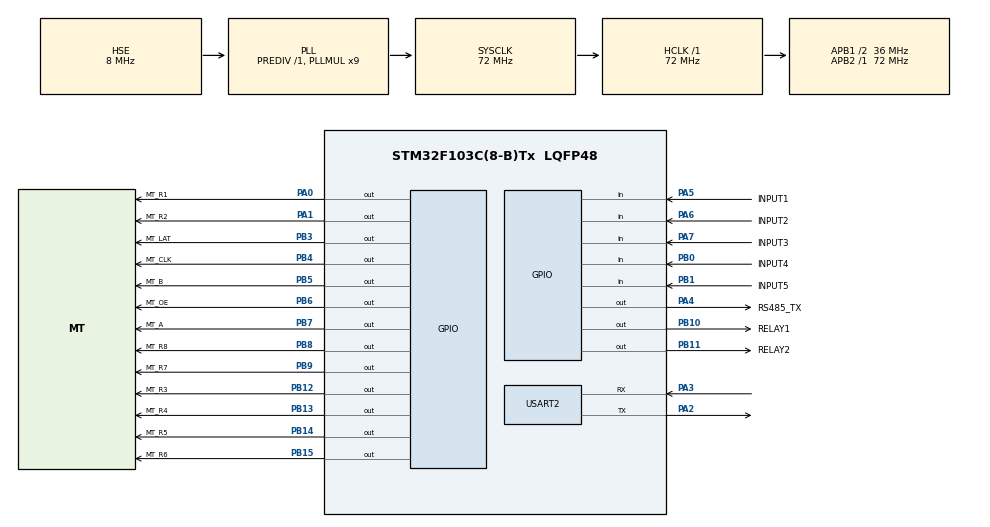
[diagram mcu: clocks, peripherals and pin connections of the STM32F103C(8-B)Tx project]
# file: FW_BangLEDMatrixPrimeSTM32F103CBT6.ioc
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Mcu.Family=STM32F1
Mcu.Name=STM32F103C(8-B)Tx
Mcu.Package=LQFP48
NVIC.PriorityGroup=NVIC_PRIORITYGROUP_4
NVIC.TIM1_BRK_IRQn=true\:7\:0\:true\:false\:true\:true\:true\:true
NVIC.TIM1_CC_IRQn=true\:7\:0\:true\:false\:true\:true\:true\:true
NVIC.TIM1_TRG_COM_IRQn=true\:7\:0\:true\:false\:true\:true\:true\:true
NVIC.TIM1_UP_IRQn=true\:7\:0\:true\:false\:true\:true\:true\:true
NVIC.USART2_IRQn=true\:0\:0\:false\:false\:true\:true\:true\:true
PA0-WKUP.GPIO_Label=MT_R1
PA0-WKUP.GPIO_Speed=GPIO_SPEED_FREQ_HIGH
PA0-WKUP.Signal=GPIO_Output
PA1.GPIO_Label=MT_R2
PA1.GPIO_Speed=GPIO_SPEED_FREQ_HIGH
PA1.Signal=GPIO_Output
PA13.Mode=Serial_Wire
PA13.Signal=SYS_JTMS-SWDIO
PA14.Mode=Serial_Wire
PA14.Signal=SYS_JTCK-SWCLK
PA2.Mode=Asynchronous
PA2.Signal=USART2_TX
PA3.Mode=Asynchronous
PA3.Signal=USART2_RX
PA4.GPIO_Label=RS485_TX
PA4.Signal=GPIO_Output
PA5.GPIO_Label=INPUT1
PA5.Signal=GPIO_Input
PA6.GPIO_Label=INPUT2
PA6.Signal=GPIO_Input
PA7.GPIO_Label=INPUT3
PA7.Signal=GPIO_Input
PB0.GPIO_Label=INPUT4
PB0.Signal=GPIO_Input
PB1.GPIO_Label=INPUT5
PB1.Signal=GPIO_Input
PB10.GPIO_Label=RELAY1
PB10.Signal=GPIO_Output
PB11.GPIO_Label=RELAY2
PB11.Signal=GPIO_Output
PB12.GPIO_Label=MT_R3
PB12.GPIO_Speed=GPIO_SPEED_FREQ_HIGH
PB12.Signal=GPIO_Output
PB13.GPIO_Label=MT_R4
PB13.GPIO_Speed=GPIO_SPEED_FREQ_HIGH
PB13.Signal=GPIO_Output
PB14.GPIO_Label=MT_R5
PB14.GPIO_Speed=GPIO_SPEED_FREQ_HIGH
PB14.Signal=GPIO_Output
PB15.GPIO_Label=MT_R6
PB15.GPIO_Speed=GPIO_SPEED_FREQ_HIGH
PB15.Signal=GPIO_Output
PB3.GPIO_Label=MT_LAT
PB3.GPIO_Speed=GPIO_SPEED_FREQ_HIGH
PB3.Signal=GPIO_Output
PB4.GPIO_Label=MT_CLK
PB4.GPIO_Speed=GPIO_SPEED_FREQ_HIGH
PB4.Signal=GPIO_Output
PB5.GPIO_Label=MT_B
PB5.GPIO_Speed=GPIO_SPEED_FREQ_HIGH
PB5.Signal=GPIO_Output
PB6.GPIO_Label=MT_OE
PB6.GPIO_Speed=GPIO_SPEED_FREQ_HIGH
PB6.Signal=GPIO_Output
PB7.GPIO_Label=MT_A
PB7.GPIO_Speed=GPIO_SPEED_FREQ_HIGH
PB7.Signal=GPIO_Output
PB8.GPIO_Label=MT_R8
PB8.GPIO_Speed=GPIO_SPEED_FREQ_HIGH
PB8.Signal=GPIO_Output
PB9.GPIO_Label=MT_R7
PB9.GPIO_Speed=GPIO_SPEED_FREQ_HIGH
PB9.Signal=GPIO_Output
PD0-OSC_IN.Mode=HSE-External-Oscillator
PD0-OSC_IN.Signal=RCC_OSC_IN
PD1-OSC_OUT.Mode=HSE-External-Oscillator
PD1-OSC_OUT.Signal=RCC_OSC_OUT
ProjectManager.HeapSize=0x200
ProjectManager.StackSize=0x400
ProjectManager.TargetToolchain=STM32CubeIDE
RCC.AHBFreq_Value=72000000
RCC.APB1CLKDivider=RCC_HCLK_DIV2
RCC.APB1Freq_Value=36000000
RCC.APB1TimFreq_Value=72000000
RCC.APB2Freq_Value=72000000
RCC.APB2TimFreq_Value=72000000
RCC.HCLKFreq_Value=72000000
RCC.PLLMUL=RCC_PLL_MUL9
RCC.PLLSourceVirtual=RCC_PLLSOURCE_HSE
RCC.SYSCLKFreq_VALUE=72000000
RCC.SYSCLKSource=RCC_SYSCLKSOURCE_PLLCLK
RCC.USBFreq_Value=72000000
TIM1.Period=3999
TIM1.Prescaler=71
USART2.VirtualMode=VM_ASYNC
VP_TIM1_VS_ClockSourceINT.Mode=Internal
board=custom

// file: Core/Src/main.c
/* USER CODE BEGIN Header */
/**
  ******************************************************************************
  * @file           : main.c
  * @brief          : Main program body
  ******************************************************************************
  * @attention
  *
  * Copyright (c) 2023 STMicroelectronics.
  * All rights reserved.
  *
  * This software is licensed under terms that can be found in the LICENSE file
  * in the root directory of this software component.
  * If no LICENSE file comes with this software, it is provided AS-IS.
  *
  ******************************************************************************
  */
/* USER CODE END Header */
#include "main.h"
#include <stdbool.h>
/* USER CODE BEGIN Includes */
#include "stdio.h"
#include "led.h"
/* USER CODE END Includes */

TIM_HandleTypeDef htim1;

UART_HandleTypeDef huart2;

void SystemClock_Config(void);
static void MX_GPIO_Init(void);
static void MX_USART2_UART_Init(void);
static void MX_TIM1_Init(void);

/* USER CODE BEGIN 0 */
//bien phuc vu cai dat
uint8_t flag_hetBH = 0;
uint32_t TS2 = 0,TS1 = 0,thoi_gian_hoatdong = 0,My_Baudrate = 0,My_ID = 0;
int trangthainutnhan = 0;
void luu_thong_tin(void);

#define MENU HAL_GPIO_ReadPin(INPUT3_GPIO_Port, INPUT3_Pin)
#define UP HAL_GPIO_ReadPin(INPUT4_GPIO_Port, INPUT4_Pin)
#define DOWN HAL_GPIO_ReadPin(INPUT5_GPIO_Port, INPUT5_Pin)
/* USER CODE END 0 */

void Tru30s(void);
void COUNTDOWN(void);
void DK_Pin(void);
void Pause();

void HienThiPin(uint8_t level)
{
//	int x = 36;
//	int y = 18;
//	for(int a = x; a < x + 22; x++)
//	{
//		for(int b = y; b < y + 6; y++)
//		{
//			setpixel(a, b, 1);
//		}
//	}
	//hien thi khung pin ngang(tren)
	for(int i = 36;i < 37+22;i++)
	{
		setpixel(i, 18, 1);
	}
	//hien thi khung pin ngang(duoi)
	for(int i = 36;i < 37+22;i++)
	{
		setpixel(i, 21 + 2, 1);
	}
	// hien thi khung Pin doc(trai)
	for(int i=18;i<18+6;i++)
	{
		setpixel(36, i, 1);
	}
	// hien thi khung Pin doc(phai)
	for(int i=18;i<18+6;i++)
	{
		setpixel(36+22, i, 1);
	}
	// hien thi dau cuc Pin
	for(int i=19;i<18+5;i++)
	{
			setpixel(36+23, i, 1);
	}

	// hien thi Level
	switch (level)
	{
		case 0:
			level = 1;
			break;
		case 1:
			level = 2;
			break;
		case 2:
			level = 3;
			break;
		case 3:
			level = 4;
			break;
		case 4:
			level = 5;
			break;
	}

	int vtri_batdau = 39 - 1;
	for(int t = 0; t < level; t++)
	{
		for(int i = vtri_batdau; i < vtri_batdau + 3; i++)
		{
			for(int j = 18; j < 24; j++)
			{
				setpixel(i, j, 1);
			}
		}
		vtri_batdau += 4;
	}
//	switch(level)
//	{
//		// Level 1
//		case 0:
//		{
//			for(int i = 39-1; i < 42-1; i++)
//			{
//				for(int j = 18; j < 24; j++)
//				{
//					setpixel(i, j, 1);
//				}
//			}
//			break;
//		}
//		// Level 2
//		case 1:
//		{
//			for(int i = 39 - 1; i < 42 - 1; i++)
//			{
//				for(int j = 18; j < 24; j++)
//				{
//					setpixel(i, j, 1);
//				}
//			}
//			for(int i = 43 - 1; i < 46 - 1; i++)
//			{
//				for(int j = 18; j < 24; j++)
//				{
//					setpixel(i, j, 1);
//				}
//			}
//			break;
//		}
//		// Level 3
//		case 2:
//		{
//			for(int i = 39 - 1; i < 42 - 1; i++){
//				for(int j = 18; j < 24; j++){
//					setpixel(i, j, 1);
//				}
//			}
//			for(int i = 43 - 1; i < 46 - 1; i++){
//				for(int j = 18; j < 24; j++){
//					setpixel(i, j, 1);
//				}
//			}
//
//			for(int i = 47 - 1; i < 50 - 1; i++){
//				for(int j = 18; j < 24; j++){
//					setpixel(i, j, 1);
//				}
//			}
//			break;
//		}
//		// Level 4
//		case 3:
//		{
//			for(int i = 39 - 1; i < 42 - 1; i++){
//				for(int j = 18; j < 24; j++){
//					setpixel(i, j, 1);
//				}
//			}
//			for(int i = 43 - 1; i < 46 - 1; i++){
//				for(int j = 18; j < 24; j++){
//					setpixel(i, j, 1);
//				}
//			}
//
//			for(int i = 47 - 1; i < 50 - 1; i++){
//				for(int j = 18; j < 24; j++){
//					setpixel(i, j, 1);
//				}
//			}
//
//			for(int i = 51 - 1; i < 54 - 1; i++){
//				for(int j = 18; j < 24; j++){
//					setpixel(i, j, 1);
//				}
//			}
//			break;
//		}
//
//		// Level 5
//		case 4:
//		{
//			for(int i = 39 - 1; i < 42 - 1; i++){
//				for(int j = 18; j < 24; j++){
//					setpixel(i, j, 1);
//				}
//			}
//
//			for(int i = 43 - 1; i < 46 - 1; i++){
//				for(int j = 18; j < 24; j++){
//					setpixel(i, j, 1);
//				}
//			}
//
//			for(int i = 47 - 1; i < 50 - 1; i++){
//				for(int j = 18; j < 24; j++){
//					setpixel(i, j, 1);
//				}
//			}
//			for(int i = 51 - 1; i < 54 - 1; i++){
//				for(int j = 18; j < 24; j++){
//					setpixel(i, j, 1);
//				}
//			}
//			for(int i = 55 - 1; i < 58 - 1; i++){
//				for(int j = 18; j < 24; j++){
//					setpixel(i, j, 1);
//				}
//			}
//			break;
//		}
//	}
}

uint16_t trangthaiPin = 0;
uint16_t demPin = 0;
void DK_Pin(){
	if(HAL_GPIO_ReadPin(INPUT5_GPIO_Port,INPUT5_Pin) == 0){
		if(trangthaiPin == 1){
			demPin++;
		}
		if(demPin == 1)
		{
			HienThiPin(0);
		}
		else if(demPin == 2)
		{
			HienThiPin(1);
		}
		else if(demPin == 3)
		{
			HienThiPin(2);
		}
		else if(demPin == 4)
		{
			HienThiPin(3);
		}
		else if(demPin == 5)
		{
			HienThiPin(4);
		}
		else if(demPin >= 6){
			demPin = 1;
		}
		trangthaiPin = 0;
	}
	else{
		trangthaiPin = 1;
	}
}

int cnt = 0;
int dem = 420;
uint8_t m[32];
uint8_t m1[32];
uint32_t dem1 = 0,stick = 0;

uint32_t count_1s =0;

uint8_t a,b,c,d,e;

int tt2 = 0;
int cnt2 = 0;

int tt_dung = 0;
int cnt_dung = 0;
// khai bao ham dung
int dung = 0;

int main(void)
{
  /* USER CODE BEGIN 1 */
//	uint8_t m[32];
//	uint8_t m1[32];
//	uint32_t dem1 = 0,stick = 0;
//
//	uint32_t count_1s =0;
  /* USER CODE END 1 */

  /* MCU Configuration--------------------------------------------------------*/

  /* Reset of all peripherals, Initializes the Flash interface and the Systick. */
  HAL_Init();

  /* Configure the system clock */
  SystemClock_Config();

  /* Initialize all configured peripherals */
  MX_GPIO_Init();
  MX_USART2_UART_Init();
  MX_TIM1_Init();
  /* USER CODE BEGIN 2 */
  //doc thong tin ra
  led_init();
//  write_string(0, "12.34 %", 0, 0);
//  write_string(0, "100.0 %", 0, 16);
//  write_string(0, "56.78 %", 0, 32);
//  write_string(0, "15.12 %", 0, 48);
//  write_string(0, "92.68 %", 0, 64);
  /* USER CODE END 2 */
  /* Infinite loop */
  /* USER CODE BEGIN WHILE */
  int dem = 420; // 7 mins
  int tt=0;
  while (1)
  {
    /* USER CODE END WHILE */
    /* USER CODE BEGIN 3 */
//	  a = HAL_GPIO_ReadPin(INPUT1_GPIO_Port,INPUT1_Pin);
//	  // Start
//	  b = HAL_GPIO_ReadPin(INPUT2_GPIO_Port,INPUT2_Pin);
//	  c = HAL_GPIO_ReadPin(INPUT3_GPIO_Port,INPUT3_Pin);
//	  // ERROR
//	  d = HAL_GPIO_ReadPin(INPUT4_GPIO_Port,INPUT4_Pin);
//	  // Level
//	  e = HAL_GPIO_ReadPin(INPUT5_GPIO_Port,INPUT5_Pin);
//	  if(a | b | c | d | e != 0){
//		  printf("Da nhan");
//	  }

	  DK_Pin();
	  a = HAL_GPIO_ReadPin(INPUT1_GPIO_Port,INPUT1_Pin);
	  b = HAL_GPIO_ReadPin(INPUT2_GPIO_Port,INPUT2_Pin);			// countdown
	  c = HAL_GPIO_ReadPin(INPUT4_GPIO_Port,INPUT4_Pin);			// tru 30s
	  d = HAL_GPIO_ReadPin(INPUT5_GPIO_Port,INPUT5_Pin);			// Level
	  if(b == 0){
		  tt = 1;
		  if(HAL_GetTick() - count_1s > 1000)
		  {
			  if(dem >= 0 && !dung){
				  sprintf(m,"                   %d:%.2d",dem/60,dem%60);
				  write_string(0, m, 0, 3);
				  dem--;

				  // Ham Pause dong ho
				  if(a == 0){
					  dung = 1;
				  }
				  else{
					  dung = 0;
					  count_1s = HAL_GetTick();
				  }
//
			  }
			  else{
				  sprintf(m,"                  0:00");
				  write_string(0, m, 0, 3);
				  HAL_GPIO_WritePin(GPIOA, MT_R1_Pin, GPIO_PIN_SET);
			  }
		  }
		  if(c == 0){
		  	HAL_Delay(10);
		  	if(c == 0){
				sprintf(m,"               %d:%.2d",dem/60,dem%60);
				write_string(0, m, 0, 3);
				dem -= 30;
		  	}
		  }
	  }

	  else if(b	 == 1){
		  clear_lcd();
		  dem = 420;
		  tt = 1;
	  }

  }
  /* USER CODE END 3 */
}

void SystemClock_Config(void)
{
  RCC_OscInitTypeDef RCC_OscInitStruct = {0};
  RCC_ClkInitTypeDef RCC_ClkInitStruct = {0};

  /** Initializes the RCC Oscillators according to the specified parameters
  * in the RCC_OscInitTypeDef structure.
  */
  RCC_OscInitStruct.OscillatorType = RCC_OSCILLATORTYPE_HSE;
  RCC_OscInitStruct.HSEState = RCC_HSE_ON;
  RCC_OscInitStruct.HSEPredivValue = RCC_HSE_PREDIV_DIV1;
  RCC_OscInitStruct.HSIState = RCC_HSI_ON;
  RCC_OscInitStruct.PLL.PLLState = RCC_PLL_ON;
  RCC_OscInitStruct.PLL.PLLSource = RCC_PLLSOURCE_HSE;
  RCC_OscInitStruct.PLL.PLLMUL = RCC_PLL_MUL9;
  if (HAL_RCC_OscConfig(&RCC_OscInitStruct) != HAL_OK)
  {
    Error_Handler();
  }

  /** Initializes the CPU, AHB and APB buses clocks
  */
  RCC_ClkInitStruct.ClockType = RCC_CLOCKTYPE_HCLK|RCC_CLOCKTYPE_SYSCLK
                              |RCC_CLOCKTYPE_PCLK1|RCC_CLOCKTYPE_PCLK2;
  RCC_ClkInitStruct.SYSCLKSource = RCC_SYSCLKSOURCE_PLLCLK;
  RCC_ClkInitStruct.AHBCLKDivider = RCC_SYSCLK_DIV1;
  RCC_ClkInitStruct.APB1CLKDivider = RCC_HCLK_DIV2;
  RCC_ClkInitStruct.APB2CLKDivider = RCC_HCLK_DIV1;

  if (HAL_RCC_ClockConfig(&RCC_ClkInitStruct, FLASH_LATENCY_2) != HAL_OK)
  {
    Error_Handler();
  }
}

static void MX_TIM1_Init(void)
{

  TIM_ClockConfigTypeDef sClockSourceConfig = {0};
  TIM_MasterConfigTypeDef sMasterConfig = {0};

  htim1.Instance = TIM1;
  htim1.Init.Prescaler = 71;
  htim1.Init.CounterMode = TIM_COUNTERMODE_UP;
  htim1.Init.Period = 3999;
  htim1.Init.ClockDivision = TIM_CLOCKDIVISION_DIV1;
  htim1.Init.RepetitionCounter = 0;
  htim1.Init.AutoReloadPreload = TIM_AUTORELOAD_PRELOAD_DISABLE;
  if (HAL_TIM_Base_Init(&htim1) != HAL_OK)
  {
    Error_Handler();
  }
  sClockSourceConfig.ClockSource = TIM_CLOCKSOURCE_INTERNAL;
  if (HAL_TIM_ConfigClockSource(&htim1, &sClockSourceConfig) != HAL_OK)
  {
    Error_Handler();
  }
  sMasterConfig.MasterOutputTrigger = TIM_TRGO_RESET;
  sMasterConfig.MasterSlaveMode = TIM_MASTERSLAVEMODE_DISABLE;
  if (HAL_TIMEx_MasterConfigSynchronization(&htim1, &sMasterConfig) != HAL_OK)
  {
    Error_Handler();
  }

}

static void MX_USART2_UART_Init(void)
{

  huart2.Instance = USART2;
  huart2.Init.BaudRate = 115200;
  huart2.Init.WordLength = UART_WORDLENGTH_8B;
  huart2.Init.StopBits = UART_STOPBITS_1;
  huart2.Init.Parity = UART_PARITY_NONE;
  huart2.Init.Mode = UART_MODE_TX_RX;
  huart2.Init.HwFlowCtl = UART_HWCONTROL_NONE;
  huart2.Init.OverSampling = UART_OVERSAMPLING_16;
  if (HAL_UART_Init(&huart2) != HAL_OK)
  {
    Error_Handler();
  }

}

static void MX_GPIO_Init(void)
{
  GPIO_InitTypeDef GPIO_InitStruct = {0};

  /* GPIO Ports Clock Enable */
  __HAL_RCC_GPIOD_CLK_ENABLE();
  __HAL_RCC_GPIOA_CLK_ENABLE();
  __HAL_RCC_GPIOB_CLK_ENABLE();

  /*Configure GPIO pin Output Level */
  HAL_GPIO_WritePin(GPIOA, MT_R1_Pin|MT_R2_Pin|RS485_TX_Pin, GPIO_PIN_RESET);

  /*Configure GPIO pin Output Level */
  HAL_GPIO_WritePin(GPIOB, RELAY1_Pin|RELAY2_Pin|MT_R3_Pin|MT_R4_Pin
                          |MT_R5_Pin|MT_R6_Pin|MT_LAT_Pin|MT_CLK_Pin
                          |MT_B_Pin|MT_OE_Pin|MT_A_Pin|MT_R8_Pin
                          |MT_R7_Pin, GPIO_PIN_RESET);

  /*Configure GPIO pins : MT_R1_Pin MT_R2_Pin */
  GPIO_InitStruct.Pin = MT_R1_Pin|MT_R2_Pin;
  GPIO_InitStruct.Mode = GPIO_MODE_OUTPUT_PP;
  GPIO_InitStruct.Pull = GPIO_NOPULL;
  GPIO_InitStruct.Speed = GPIO_SPEED_FREQ_HIGH;
  HAL_GPIO_Init(GPIOA, &GPIO_InitStruct);

  /*Configure GPIO pin : RS485_TX_Pin */
  GPIO_InitStruct.Pin = RS485_TX_Pin;
  GPIO_InitStruct.Mode = GPIO_MODE_OUTPUT_PP;
  GPIO_InitStruct.Pull = GPIO_NOPULL;
  GPIO_InitStruct.Speed = GPIO_SPEED_FREQ_LOW;
  HAL_GPIO_Init(RS485_TX_GPIO_Port, &GPIO_InitStruct);

  /*Configure GPIO pins : INPUT1_Pin INPUT2_Pin INPUT3_Pin */
  GPIO_InitStruct.Pin = INPUT1_Pin|INPUT2_Pin|INPUT3_Pin;
  GPIO_InitStruct.Mode = GPIO_MODE_INPUT;
  GPIO_InitStruct.Pull = GPIO_NOPULL;
  HAL_GPIO_Init(GPIOA, &GPIO_InitStruct);

  /*Configure GPIO pins : INPUT4_Pin INPUT5_Pin */
  GPIO_InitStruct.Pin = INPUT4_Pin|INPUT5_Pin;
  GPIO_InitStruct.Mode = GPIO_MODE_INPUT;
  GPIO_InitStruct.Pull = GPIO_NOPULL;
  HAL_GPIO_Init(GPIOB, &GPIO_InitStruct);

  /*Configure GPIO pins : RELAY1_Pin RELAY2_Pin */
  GPIO_InitStruct.Pin = RELAY1_Pin|RELAY2_Pin;
  GPIO_InitStruct.Mode = GPIO_MODE_OUTPUT_PP;
  GPIO_InitStruct.Pull = GPIO_NOPULL;
  GPIO_InitStruct.Speed = GPIO_SPEED_FREQ_LOW;
  HAL_GPIO_Init(GPIOB, &GPIO_InitStruct);

  /*Configure GPIO pins : MT_R3_Pin MT_R4_Pin MT_R5_Pin MT_R6_Pin
                           MT_LAT_Pin MT_CLK_Pin MT_B_Pin MT_OE_Pin
                           MT_A_Pin MT_R8_Pin MT_R7_Pin */
  GPIO_InitStruct.Pin = MT_R3_Pin|MT_R4_Pin|MT_R5_Pin|MT_R6_Pin
                          |MT_LAT_Pin|MT_CLK_Pin|MT_B_Pin|MT_OE_Pin
                          |MT_A_Pin|MT_R8_Pin|MT_R7_Pin;
  GPIO_InitStruct.Mode = GPIO_MODE_OUTPUT_PP;
  GPIO_InitStruct.Pull = GPIO_NOPULL;
  GPIO_InitStruct.Speed = GPIO_SPEED_FREQ_HIGH;
  HAL_GPIO_Init(GPIOB, &GPIO_InitStruct);

}

void Error_Handler(void)
{
  __disable_irq();
  while (1)
  {
  }
}
